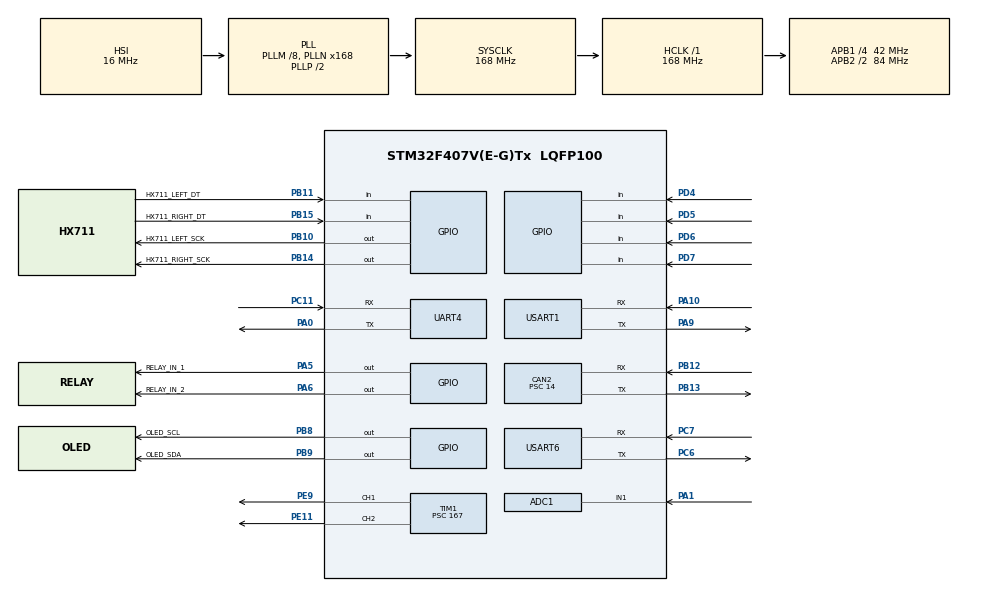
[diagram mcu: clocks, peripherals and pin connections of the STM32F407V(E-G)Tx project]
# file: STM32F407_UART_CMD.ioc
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ADC1.Channel-2\#ChannelRegularConversion=ADC_CHANNEL_1
ADC1.NbrOfConversionFlag=1
ADC1.Rank-2\#ChannelRegularConversion=1
ADC1.SamplingTime-2\#ChannelRegularConversion=ADC_SAMPLETIME_3CYCLES
ADC1.master=1
CAN2.ABOM=ENABLE
CAN2.BS1=CAN_BS1_4TQ
CAN2.CalculateBaudRate=499999
CAN2.CalculateTimeBit=2000
CAN2.CalculateTimeQuantum=333.33333333333337
CAN2.Prescaler=14
Dma.MEMTOMEM.0.Direction=DMA_MEMORY_TO_MEMORY
Dma.MEMTOMEM.0.FIFOMode=DMA_FIFOMODE_ENABLE
Dma.MEMTOMEM.0.FIFOThreshold=DMA_FIFO_THRESHOLD_FULL
Dma.MEMTOMEM.0.Instance=DMA2_Stream1
Dma.MEMTOMEM.0.MemBurst=DMA_MBURST_SINGLE
Dma.MEMTOMEM.0.MemDataAlignment=DMA_MDATAALIGN_BYTE
Dma.MEMTOMEM.0.MemInc=DMA_MINC_ENABLE
Dma.MEMTOMEM.0.Mode=DMA_NORMAL
Dma.MEMTOMEM.0.PeriphBurst=DMA_PBURST_SINGLE
Dma.MEMTOMEM.0.PeriphDataAlignment=DMA_PDATAALIGN_BYTE
Dma.MEMTOMEM.0.PeriphInc=DMA_PINC_ENABLE
Dma.MEMTOMEM.0.Priority=DMA_PRIORITY_LOW
Dma.Request0=MEMTOMEM
Mcu.Family=STM32F4
Mcu.Name=STM32F407V(E-G)Tx
Mcu.Package=LQFP100
NVIC.CAN2_RX0_IRQn=true\:0\:0\:false\:false\:true\:true\:true\:true
NVIC.DMA2_Stream1_IRQn=true\:0\:0\:false\:false\:true\:false\:true\:true
NVIC.PriorityGroup=NVIC_PRIORITYGROUP_4
NVIC.UART4_IRQn=true\:0\:0\:false\:false\:true\:true\:true\:true
NVIC.USART1_IRQn=true\:0\:0\:false\:false\:true\:true\:true\:true
NVIC.USART6_IRQn=true\:0\:0\:false\:false\:true\:true\:true\:true
PA0-WKUP.GPIO_PuPd=GPIO_PULLUP
PA0-WKUP.Mode=Asynchronous
PA0-WKUP.Signal=UART4_TX
PA1.Signal=ADCx_IN1
PA10.GPIO_PuPd=GPIO_PULLUP
PA10.GPIO_Speed=GPIO_SPEED_FREQ_MEDIUM
PA10.Mode=Asynchronous
PA10.Signal=USART1_RX
PA13.Mode=Serial_Wire
PA13.Signal=SYS_JTMS-SWDIO
PA14.Mode=Serial_Wire
PA14.Signal=SYS_JTCK-SWCLK
PA5.GPIO_Label=RELAY_IN_1
PA5.GPIO_ModeDefaultOutputPP=GPIO_MODE_OUTPUT_PP
PA5.GPIO_PuPd=GPIO_NOPULL
PA5.Signal=GPIO_Output
PA6.GPIO_Label=RELAY_IN_2
PA6.Signal=GPIO_Output
PA9.GPIO_PuPd=GPIO_PULLUP
PA9.GPIO_Speed=GPIO_SPEED_FREQ_MEDIUM
PA9.Mode=Asynchronous
PA9.Signal=USART1_TX
PB10.GPIO_Label=HX711_LEFT_SCK
PB10.Signal=GPIO_Output
PB11.GPIO_Label=HX711_LEFT_DT
PB11.GPIO_PuPd=GPIO_NOPULL
PB11.Signal=GPIO_Input
PB12.Mode=CAN_Activate
PB12.Signal=CAN2_RX
PB13.Mode=CAN_Activate
PB13.Signal=CAN2_TX
PB14.GPIO_Label=HX711_RIGHT_SCK
PB14.Signal=GPIO_Output
PB15.GPIO_Label=HX711_RIGHT_DT
PB15.Signal=GPIO_Input
PB8.GPIO_Label=OLED_SCL
PB8.GPIO_ModeDefaultOutputPP=GPIO_MODE_OUTPUT_OD
PB8.GPIO_PuPd=GPIO_PULLUP
PB8.GPIO_Speed=GPIO_SPEED_FREQ_HIGH
PB8.Signal=GPIO_Output
PB9.GPIO_Label=OLED_SDA
PB9.GPIO_ModeDefaultOutputPP=GPIO_MODE_OUTPUT_OD
PB9.GPIO_PuPd=GPIO_PULLUP
PB9.GPIO_Speed=GPIO_SPEED_FREQ_HIGH
PB9.Signal=GPIO_Output
PC11.GPIO_PuPd=GPIO_PULLUP
PC11.Mode=Asynchronous
PC11.Signal=UART4_RX
PC14-OSC32_IN.Mode=LSE-External-Oscillator
PC14-OSC32_IN.Signal=RCC_OSC32_IN
PC15-OSC32_OUT.Mode=LSE-External-Oscillator
PC15-OSC32_OUT.Signal=RCC_OSC32_OUT
PC6.GPIO_PuPd=GPIO_PULLUP
PC6.GPIO_Speed=GPIO_SPEED_FREQ_HIGH
PC6.Mode=Asynchronous
PC6.Signal=USART6_TX
PC7.GPIO_PuPd=GPIO_PULLUP
PC7.GPIO_Speed=GPIO_SPEED_FREQ_HIGH
PC7.Mode=Asynchronous
PC7.Signal=USART6_RX
PD4.GPIO_PuPd=GPIO_PULLUP
PD4.Signal=GPIO_Input
PD5.GPIO_PuPd=GPIO_PULLUP
PD5.Signal=GPIO_Input
PD6.GPIO_PuPd=GPIO_PULLUP
PD6.Signal=GPIO_Input
PD7.GPIO_PuPd=GPIO_PULLUP
PD7.Signal=GPIO_Input
PE11.GPIO_Speed=GPIO_SPEED_FREQ_HIGH
PE11.Signal=S_TIM1_CH2
PE9.GPIO_Speed=GPIO_SPEED_FREQ_HIGH
PE9.Signal=S_TIM1_CH1
PH0-OSC_IN.Mode=HSE-External-Oscillator
PH0-OSC_IN.Signal=RCC_OSC_IN
PH1-OSC_OUT.Mode=HSE-External-Oscillator
PH1-OSC_OUT.Signal=RCC_OSC_OUT
ProjectManager.HeapSize=0x200
ProjectManager.StackSize=0x800
ProjectManager.TargetToolchain=MDK-ARM V5
RCC.48MHZClocksFreq_Value=84000000
RCC.AHBFreq_Value=168000000
RCC.APB1CLKDivider=RCC_HCLK_DIV4
RCC.APB1Freq_Value=42000000
RCC.APB1TimFreq_Value=84000000
RCC.APB2CLKDivider=RCC_HCLK_DIV2
RCC.APB2Freq_Value=84000000
RCC.APB2TimFreq_Value=168000000
RCC.CortexFreq_Value=168000000
RCC.HCLKFreq_Value=168000000
RCC.HSE_VALUE=25000000
RCC.HSI_VALUE=16000000
RCC.PLLM=8
RCC.PLLN=168
RCC.SYSCLKFreq_VALUE=168000000
RCC.SYSCLKSource=RCC_SYSCLKSOURCE_PLLCLK
RCC.VCOOutputFreq_Value=336000000
SH.ADCx_IN1.0=ADC1_IN1,IN1
SH.S_TIM1_CH1.0=TIM1_CH1,PWM Generation1 CH1
SH.S_TIM1_CH2.0=TIM1_CH2,PWM Generation2 CH2
TIM1.Channel-PWM\ Generation1\ CH1=TIM_CHANNEL_1
TIM1.Channel-PWM\ Generation2\ CH2=TIM_CHANNEL_2
TIM1.Period=19999
TIM1.Prescaler=167
TIM1.Pulse-PWM\ Generation1\ CH1=1500
TIM1.Pulse-PWM\ Generation2\ CH2=1500
UART4.VirtualMode=Asynchronous
USART1.VirtualMode=VM_ASYNC
USART6.VirtualMode=VM_ASYNC
VP_TIM1_VS_ClockSourceINT.Mode=Internal
board=custom

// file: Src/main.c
/* USER CODE BEGIN Header */
/**
  ******************************************************************************
  * @file           : main.c
  * @brief          : Main program body
  ******************************************************************************
  * @attention
  *
  * <h2><center>&copy; Copyright (c) 2024 STMicroelectronics.
  * All rights reserved.</center></h2>
  *
  * This software component is licensed by ST under BSD 3-Clause license,
  * the "License"; You may not use this file except in compliance with the
  * License. You may obtain a copy of the License at:
  *                        opensource.org/licenses/BSD-3-Clause
  *
  ******************************************************************************
  */
/* USER CODE END Header */
#include "main.h"
#include "adc.h"
#include "can.h"
#include "dma.h"
#include "tim.h"
#include "usart.h"
#include "gpio.h"

/* USER CODE BEGIN Includes */

#include "OLED.h"
#include "DEBUG.h"
#include "bsp_key.h"
#include "bsp_relay.h"
#include "bsp_bluetooth.h"
#include "SERVO.h"
#include "Emm_V5.h"
#include "Conveyor_belt.h"
#include "mid_button.h"

#include "Servo_Ctrl.h"
#include "HX711.h"

#include "app_bluetooth_task.h"
#include "app_Conveyor.h"
#include "app_key_task.h"

/* USER CODE END Includes */

void SystemClock_Config(void);

/* USER CODE BEGIN 0 */

// 继电器初始化标志位（0：释放，1：吸合）
uint8_t flag_JiDianQi = 0;

// 定义时间戳变量
static uint32_t last_bluetooth_time = 0;
static uint32_t last_scan_time = 0;
static uint32_t last_wish_time= 0;
static uint32_t last_ui_time = 0;
volatile uint32_t g_boot_error_stage = 0;

/* USER CODE END 0 */

int main(void)
{

  /* MCU Configuration--------------------------------------------------------*/

  /* Reset of all peripherals, Initializes the Flash interface and the Systick. */
  HAL_Init();

  /* Configure the system clock */
  SystemClock_Config();

  /* Initialize all configured peripherals */
  MX_GPIO_Init();
  MX_DMA_Init();
  MX_USART1_UART_Init();
  MX_TIM1_Init();
  MX_ADC1_Init();
  MX_UART4_Init();
  MX_CAN2_Init();
  MX_USART6_UART_Init();
  /* USER CODE BEGIN 2 */
  OLED_Init();
  OLED_Clear();
  OLED_ShowString(0, 0, "Boot...", OLED_8X16);
  OLED_Update();

  /* Motor control link: CAN2 -> Emm_V5 -> can_SendCmd. */
  can2Ready = false;
  if (!USER_CAN2_Filter_Init())
  {
    g_boot_error_stage = 1;
  }
  else if (HAL_CAN_Start(&hcan2) != HAL_OK)
  {
    g_boot_error_stage = 2;
  }
  else if (HAL_CAN_ActivateNotification(&hcan2, CAN_IT_RX_FIFO0_MSG_PENDING) != HAL_OK)
  {
    g_boot_error_stage = 3;
  }
  else
  {
    can2Ready = true;
  }

  if (!can2Ready)
  {
    OLED_Clear();
    OLED_ShowString(0, 32, "CAN2 ERR", OLED_8X16);
    OLED_ShowString(0, 48, "Stage:", OLED_8X16);
    OLED_ShowNum(56, 48, g_boot_error_stage, 1, OLED_8X16);
    OLED_Update();
  }

	//用户初始化
	Key_Init();
	user_button_init();
	Debug_Init();
	Bluetooth_Init();
	HX711_Init();
	Relay_Init();
	ServoSystem_Init();

	//任务初始化
	App_Conwashing_Init();
	printf("System Init Success!\r\n");

	//PA5是切割			PA6是水泵
	// 低电平触发：0=释放（高电平），1=吸合（低电平）
//	Set_Relay_Switch(RELAY_PUMP, 0);
//	Set_Relay_Switch(RELAY_CUTTER, 0);
    // 初始OLED显示
  // OLED_ShowString(0, 32, "code:", OLED_8X16);
  // OLED_ShowChar(48, 32, '0' + flag_JiDianQi, OLED_8X16);
	// OLED_Update();

	Bluetooth_Printf("System Init Success! Waiting for commands...\r\n");
	printf("System Init Success! Waiting for commands...\r\n");

  /* USER CODE END 2 */

  /* Infinite loop */
  /* USER CODE BEGIN WHILE */
  while (1)
  {

    uint32_t now = HAL_GetTick();

	// --- 任务1：应用层调度 (每10ms执行一次)
    if (now - last_wish_time >= 10)
    {
        last_wish_time = now;

        App_Conwashing_Task();  // 运行传送带状态机
    }

    // --- 任务2：按键扫描 (每30ms执行一次)
    if (now - last_scan_time >= 30)
    {
        last_scan_time = now;

        flex_button_scan();     // 扫描按键
    }

    // --- 任务3：蓝牙扫描 (每50ms执行一次)
    if (now - last_bluetooth_time >= 50)
    {
        last_bluetooth_time = now;

        Process_Bluetooth_Command();

    }

    // // --- 任务4：UI 刷新 (每100ms执行一次)
    // if (now - last_ui_time >= 100)
    // {
		// 		last_ui_time = now;

		// 		// 显示当前模式
		// 		OLED_ShowString(0, 0, "Mode:", OLED_8X16);
		// 		SystemMode_t mode = App_Get_CurrentMode();

		// 		switch(mode) {
		// 		case MODE_IDLE:      OLED_ShowString(48, 0, "Idle ", OLED_8X16); break;
		// 		case MODE_AUTO_CLEAN:OLED_ShowString(48, 0, "Auto ", OLED_8X16); break;
		// 		case MODE_ERROR:     OLED_ShowString(48, 0, "Error", OLED_8X16); break;
		// 		default:             OLED_ShowString(48, 0, "Wait ", OLED_8X16); break;
    //     }

    //     OLED_Update();
	  // }

    /* USER CODE END WHILE */

  }
}

void SystemClock_Config(void)
{
  RCC_OscInitTypeDef RCC_OscInitStruct = {0};
  RCC_ClkInitTypeDef RCC_ClkInitStruct = {0};

  /** Configure the main internal regulator output voltage
  */
  __HAL_RCC_PWR_CLK_ENABLE();
  __HAL_PWR_VOLTAGESCALING_CONFIG(PWR_REGULATOR_VOLTAGE_SCALE1);

  /** Initializes the RCC Oscillators according to the specified parameters
  * in the RCC_OscInitTypeDef structure.
  */
  RCC_OscInitStruct.OscillatorType = RCC_OSCILLATORTYPE_HSI;
  RCC_OscInitStruct.HSIState = RCC_HSI_ON;
  RCC_OscInitStruct.HSICalibrationValue = RCC_HSICALIBRATION_DEFAULT;
  RCC_OscInitStruct.PLL.PLLState = RCC_PLL_ON;
  RCC_OscInitStruct.PLL.PLLSource = RCC_PLLSOURCE_HSI;
  RCC_OscInitStruct.PLL.PLLM = 8;
  RCC_OscInitStruct.PLL.PLLN = 168;
  RCC_OscInitStruct.PLL.PLLP = RCC_PLLP_DIV2;
  RCC_OscInitStruct.PLL.PLLQ = 4;
  if (HAL_RCC_OscConfig(&RCC_OscInitStruct) != HAL_OK)
  {
    Error_Handler();
  }

  /** Initializes the CPU, AHB and APB buses clocks
  */
  RCC_ClkInitStruct.ClockType = RCC_CLOCKTYPE_HCLK|RCC_CLOCKTYPE_SYSCLK
                              |RCC_CLOCKTYPE_PCLK1|RCC_CLOCKTYPE_PCLK2;
  RCC_ClkInitStruct.SYSCLKSource = RCC_SYSCLKSOURCE_PLLCLK;
  RCC_ClkInitStruct.AHBCLKDivider = RCC_SYSCLK_DIV1;
  RCC_ClkInitStruct.APB1CLKDivider = RCC_HCLK_DIV4;
  RCC_ClkInitStruct.APB2CLKDivider = RCC_HCLK_DIV2;

  if (HAL_RCC_ClockConfig(&RCC_ClkInitStruct, FLASH_LATENCY_5) != HAL_OK)
  {
    Error_Handler();
  }
}

void Error_Handler(void)
{
  /* USER CODE BEGIN Error_Handler_Debug */
  /* User can add his own implementation to report the HAL error return state */
	while(1);

  /* USER CODE END Error_Handler_Debug */
}
